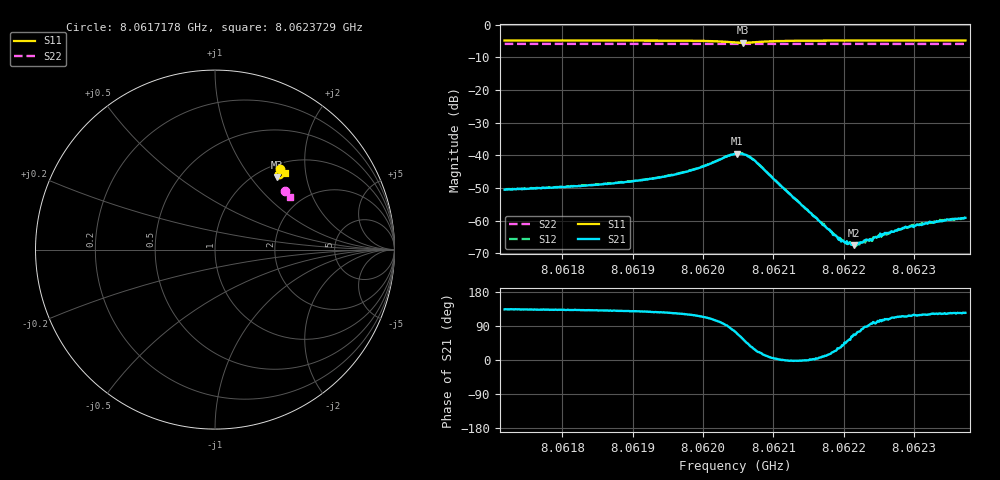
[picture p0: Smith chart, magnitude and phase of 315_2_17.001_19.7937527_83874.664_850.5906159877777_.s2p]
#  HZ  S  RI  R  50.00
! Rohde & Schwarz Vector Network Analyzer
! Rohde-Schwarz,ZNB20-2Port,1311601062101988,3.16
! Created: UTC 3/20/2024, 11:06:10 PM
! freq[Hz]  re:S11  im:S11  re:S21  im:S21  re:S12  im:S12  re:S22  im:S22
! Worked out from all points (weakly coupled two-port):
!   401 points, 8.0617178 GHz to 8.0623729 GHz, reference 50 ohm
!   highest |S21| = -39.43 dB at 8.0620486 GHz (marker M1); lowest = -67.6 dB at 8.062214 GHz (marker M2)
!   lowest |S11| = -5.5 dB at 8.0620568 GHz (marker M3), VSWR 3.26, Z = 60.9 + j68.2 ohm
!   |S11| at or under -10 dB: nowhere
!   |S22| runs from -5.9 to -5.8 dB; largest |S21 - S12| = 0.00082
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8.0617178e9  0.3595 0.45  -0.00207 0.00217  -0.00193 0.00229  0.3922 0.3271
8.06182752e9  0.3669 0.4436  -0.00228 0.00256  -0.00215 0.00273  0.3963 0.3216
8.06189795e9  0.3723 0.4383  -0.0025 0.00311  -0.00234 0.00328  0.3991 0.318
8.06193725e9  0.3756 0.4339  -0.00267 0.00372  -0.00249 0.0039  0.4005 0.316
8.06198638e9  0.38 0.4246  -0.00287 0.00534  -0.00253 0.00556  0.4024 0.3132
8.06204534e9  0.3608 0.3974  0.00275 0.0101  0.00336 0.01  0.4031 0.3095
8.06204862e9  0.3565 0.3976  0.00383 0.00997  0.00438 0.0098  0.403 0.3094
8.06205681e9  0.3461 0.4022  0.00602 0.00853  0.0067 0.00825  0.403 0.3093
8.06206499e9  0.3396 0.4117  0.00723 0.00627  0.00775 0.00586  0.4031 0.3096
8.06207646e9  0.3398 0.4252  0.00705 0.00301  0.00733 0.00269  0.4036 0.3096
8.06215507e9  0.3682 0.4383  0.00124 4.01e-05  0.00123 -3.79e-05  0.408 0.3061
8.06219437e9  0.3741 0.4358  0.00046 0.000291  0.000458 0.000274  0.4095 0.3041
8.0622042e9  0.3752 0.435  0.00032 0.000364  0.000329 0.000301  0.4099 0.3034
8.06221403e9  0.3763 0.4346  0.000161 0.000387  0.000206 0.00038  0.4102 0.3031
8.06221894e9  0.3769 0.4342  0.000137 0.000438  0.000158 0.000401  0.4103 0.3027
8.06223859e9  0.3788 0.4331  -5.21e-05 0.000502  2.12e-05 0.000525  0.4111 0.3018
8.06225497e9  0.3803 0.4321  -0.000171 0.000598  -0.000131 0.00059  0.4116 0.3009
8.0622648e9  0.381 0.4314  -0.000209 0.000624  -0.000182 0.000611  0.412 0.3005
8.06229591e9  0.3834 0.4296  -0.000364 0.000736  -0.000323 0.000767  0.4132 0.2988
8.06232048e9  0.3852 0.4282  -0.000467 0.000799  -0.000457 0.000834  0.414 0.2975
8.06233522e9  0.3863 0.4274  -0.000528 0.000827  -0.000495 0.000844  0.4145 0.2968
8.06237289e9  0.3888 0.4253  -0.000625 0.000912  -0.000572 0.000982  0.4158 0.2948
